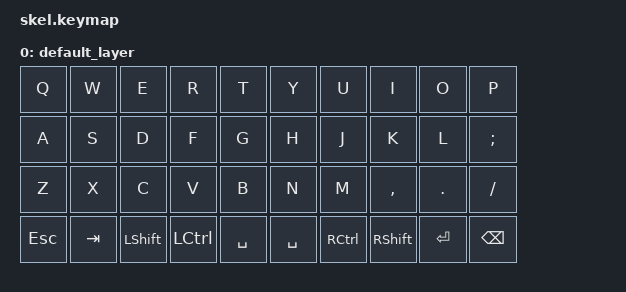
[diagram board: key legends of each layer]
/ {
    keymap {
        compatible = "zmk,keymap";

        default_layer {
            bindings = <
                &kp Q    &kp W    &kp E    &kp R    &kp T      &kp Y    &kp U    &kp I    &kp O    &kp P
                &kp A    &kp S    &kp D    &kp F    &kp G      &kp H    &kp J    &kp K    &kp L    &kp SCLN
                &kp Z    &kp X    &kp C    &kp V    &kp B      &kp N    &kp M    &kp COMMA &kp DOT &kp SLASH
                &kp ESC  &kp TAB  &kp LSHIFT &kp LCTRL &kp SPACE   &kp SPACE &kp RCTRL &kp RSHIFT &kp ENTER &kp BSPC
            >;
        };
    };
};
